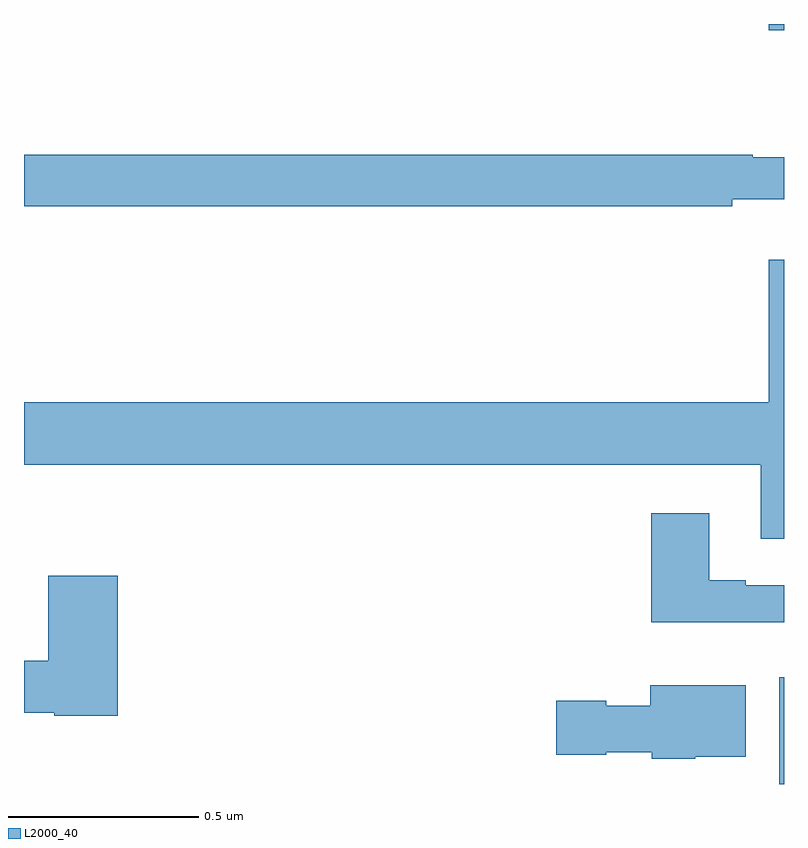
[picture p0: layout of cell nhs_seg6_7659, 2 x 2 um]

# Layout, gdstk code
import gdstk
lib = gdstk.Library(unit=1e-6, precision=1e-09)
def R(c, l, rs):  # rectangles x0, y0, x1, y1
    for r in rs: c.add(gdstk.rectangle(r[:2], r[2:], *l))
def P(c, l, *ps):  # polygons
    for p in ps: c.add(gdstk.Polygon(p, *l))
L2000_40 = (2000, 40)

nhs_seg6_7659 = lib.new_cell('nhs_seg6_7659')
R(nhs_seg6_7659, L2000_40, [(212.987,942.5,213,942.781), (212.96,944.484,213,944.5)])
P(nhs_seg6_7659, L2000_40, [(212.864,944.039),(213,944.039),(213,944.149),(212.918,944.149),(212.918,944.156),(211,944.156),(211,944.02),(212.864,944.02)],
  [(213,943.879),(212.96,943.879),(212.96,943.504),(211,943.504),(211,943.34),(212.939,943.34),(212.939,943.146),(213,943.146)],
  [(213,943.023),(212.899,943.023),(212.899,943.036),(212.803,943.036),(212.803,943.213),(212.651,943.213),(212.651,942.926),(213,942.926)],
  [(211.247,943.048),(211.064,943.048),(211.064,942.824),(211,942.824),(211,942.688),(211.08,942.688),(211.08,942.68),(211.247,942.68)],
  [(212.766,942.572),(212.899,942.572),(212.899,942.76),(212.648,942.76),(212.648,942.706),(212.532,942.706),(212.532,942.719),(212.4,942.719),(212.4,942.577),(212.532,942.577),(212.532,942.584),(212.652,942.584),(212.652,942.566),(212.766,942.566)])

lib.write_gds('nhs_seg6_7659.gds')
